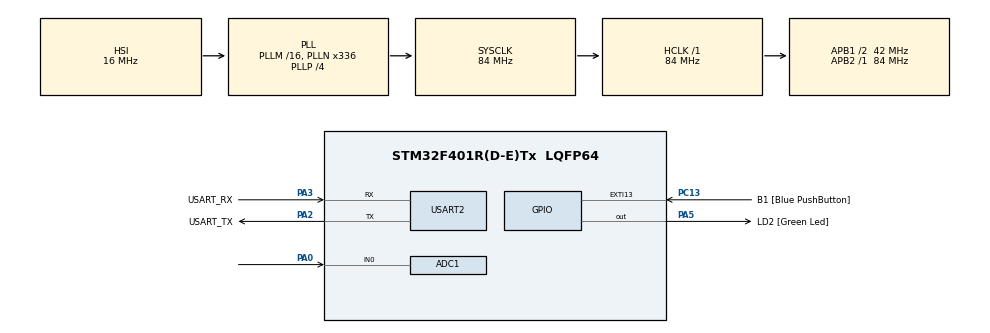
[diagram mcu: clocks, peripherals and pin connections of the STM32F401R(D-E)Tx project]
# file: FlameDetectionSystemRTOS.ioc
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ADC1.Channel-1\#ChannelRegularConversion=ADC_CHANNEL_0
ADC1.NbrOfConversionFlag=1
ADC1.Rank-1\#ChannelRegularConversion=1
ADC1.SamplingTime-1\#ChannelRegularConversion=ADC_SAMPLETIME_3CYCLES
ADC1.master=1
FREERTOS.Tasks01=defaultTask,24,128,StartDefaultTask,Default,NULL,Dynamic,NULL,NULL
Mcu.Family=STM32F4
Mcu.Name=STM32F401R(D-E)Tx
Mcu.Package=LQFP64
NVIC.PriorityGroup=NVIC_PRIORITYGROUP_4
PA0-WKUP.Signal=ADCx_IN0
PA13.GPIO_Label=TMS
PA13.Mode=Trace_Asynchronous_SW
PA13.Signal=SYS_JTMS-SWDIO
PA14.GPIO_Label=TCK
PA14.Mode=Trace_Asynchronous_SW
PA14.Signal=SYS_JTCK-SWCLK
PA2.GPIO_Label=USART_TX
PA2.GPIO_Mode=GPIO_MODE_AF_PP
PA2.GPIO_PuPd=GPIO_NOPULL
PA2.GPIO_Speed=GPIO_SPEED_FREQ_LOW
PA2.Mode=Asynchronous
PA2.Signal=USART2_TX
PA3.GPIO_Label=USART_RX
PA3.GPIO_Mode=GPIO_MODE_AF_PP
PA3.GPIO_PuPd=GPIO_NOPULL
PA3.GPIO_Speed=GPIO_SPEED_FREQ_LOW
PA3.Mode=Asynchronous
PA3.Signal=USART2_RX
PA5.GPIO_Label=LD2 [Green Led]
PA5.GPIO_Mode=GPIO_MODE_OUTPUT_PP
PA5.GPIO_PuPd=GPIO_NOPULL
PA5.GPIO_Speed=GPIO_SPEED_FREQ_LOW
PA5.Signal=GPIO_Output
PB3.GPIO_Label=SWO
PB3.Mode=Trace_Asynchronous_SW
PB3.Signal=SYS_JTDO-SWO
PC13-ANTI_TAMP.GPIO_Label=B1 [Blue PushButton]
PC13-ANTI_TAMP.GPIO_ModeDefaultEXTI=GPIO_MODE_IT_FALLING
PC13-ANTI_TAMP.GPIO_PuPd=GPIO_NOPULL
PC13-ANTI_TAMP.Signal=GPXTI13
PC14-OSC32_IN.Mode=LSE-External-Oscillator
PC14-OSC32_IN.Signal=RCC_OSC32_IN
PC15-OSC32_OUT.Mode=LSE-External-Oscillator
PC15-OSC32_OUT.Signal=RCC_OSC32_OUT
PH0\ -\ OSC_IN.Mode=HSE-External-Clock-Source
PH0\ -\ OSC_IN.Signal=RCC_OSC_IN
PH1\ -\ OSC_OUT.Mode=HSE-External-Clock-Source
PH1\ -\ OSC_OUT.Signal=RCC_OSC_OUT
ProjectManager.HeapSize=0x200
ProjectManager.StackSize=0x400
ProjectManager.TargetToolchain=STM32CubeIDE
RCC.48MHZClocksFreq_Value=48000000
RCC.AHBFreq_Value=84000000
RCC.APB1CLKDivider=RCC_HCLK_DIV2
RCC.APB1Freq_Value=42000000
RCC.APB1TimFreq_Value=84000000
RCC.APB2Freq_Value=84000000
RCC.APB2TimFreq_Value=84000000
RCC.CortexFreq_Value=84000000
RCC.HCLKFreq_Value=84000000
RCC.HSE_VALUE=8000000
RCC.HSI_VALUE=16000000
RCC.PLLN=336
RCC.PLLP=RCC_PLLP_DIV4
RCC.PLLQ=7
RCC.SYSCLKFreq_VALUE=84000000
RCC.SYSCLKSource=RCC_SYSCLKSOURCE_PLLCLK
RCC.VCOOutputFreq_Value=336000000
SH.ADCx_IN0.0=ADC1_IN0,IN0
USART2.VirtualMode=VM_ASYNC
VP_FREERTOS_VS_CMSIS_V2.Mode=CMSIS_V2
board=NUCLEO-F401RE

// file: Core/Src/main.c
/* USER CODE BEGIN Header */
/**
  ******************************************************************************
  * @file           : main.c
  * @brief          : Main program body
  ******************************************************************************
  * @attention
  *
  * Copyright (c) 2025 STMicroelectronics.
  * All rights reserved.
  *
  * This software is licensed under terms that can be found in the LICENSE file
  * in the root directory of this software component.
  * If no LICENSE file comes with this software, it is provided AS-IS.
  *
  ******************************************************************************
  */
/* USER CODE END Header */
#include "main.h"

/* USER CODE BEGIN Includes */
#include "FreeRTOS.h"
#include "task.h"
#include "queue.h"
#include "semphr.h"
#include "stdio.h"
#include "cmsis_os2.h"
/* USER CODE END Includes */

ADC_HandleTypeDef hadc1;

UART_HandleTypeDef huart2;

/* Definitions for defaultTask */
osThreadId_t defaultTaskHandle;
const osThreadAttr_t defaultTask_attributes = {
  .name = "defaultTask",
  .stack_size = 128 * 4,
  .priority = (osPriority_t) osPriorityNormal,
};
/* USER CODE BEGIN PV */
// FreeRTOS objects
QueueHandle_t xFlameQueue;
SemaphoreHandle_t xSensorMutex;
TaskHandle_t xFlameSensorTaskHandle = NULL;
TaskHandle_t xAlertTaskHandle = NULL;
TaskHandle_t xSerialTaskHandle = NULL;

// GPIO Definitions
#define FLAME_THRESHOLD 500
#define LED_PIN GPIO_PIN_5   // Ensure this matches your hardware
#define BUZZER_PIN GPIO_PIN_6
/* USER CODE END PV */

void SystemClock_Config(void);
static void MX_GPIO_Init(void);
static void MX_USART2_UART_Init(void);
static void MX_ADC1_Init(void);
void StartDefaultTask(void *argument);

/* USER CODE BEGIN PFP */
void vFlameSensorTask(void *pvParameters);
void vAlertTask(void *pvParameters);
void vSerialTask(void *pvParameters);
/* USER CODE END PFP */

/* USER CODE BEGIN 0 */
#include <sys/stat.h>
int _write(int fd, char *ptr, int len) {
    HAL_UART_Transmit(&huart2, (uint8_t*)ptr, len, HAL_MAX_DELAY);
    return len;
}
uint16_t readFlameSensor(void) {
    uint16_t sensorValue = 0;
    if (xSemaphoreTake(xSensorMutex, portMAX_DELAY) == pdTRUE) {
        HAL_ADC_Start(&hadc1);
        HAL_ADC_PollForConversion(&hadc1, HAL_MAX_DELAY);
        sensorValue = HAL_ADC_GetValue(&hadc1);
        HAL_ADC_Stop(&hadc1);
        xSemaphoreGive(xSensorMutex);
    }
    return (sensorValue > 4095) ? 4095 : sensorValue;
}
/* USER CODE END 0 */

int main(void)
{

  /* MCU Configuration--------------------------------------------------------*/

  /* Reset of all peripherals, Initializes the Flash interface and the Systick. */
  HAL_Init();

  /* Configure the system clock */
  SystemClock_Config();

  /* Initialize all configured peripherals */
  MX_GPIO_Init();
  MX_USART2_UART_Init();
  MX_ADC1_Init();
  /* USER CODE BEGIN 2 */
  xFlameQueue = xQueueCreate(1, sizeof(uint8_t));
  xSensorMutex = xSemaphoreCreateMutex();

  if (xFlameQueue == NULL || xSensorMutex == NULL) {
	  Error_Handler();
      printf("Queue or Mutex creation failed! System Halted.\n");
      while (1);
  }

  const osThreadAttr_t flameTask_attr = {
    .name = "FlameSensor",
    .stack_size = 256 * 4,  // STM32 uses bytes, not words
    .priority = osPriorityNormal,
  };
  osThreadNew(vFlameSensorTask, NULL, &flameTask_attr);
  const osThreadAttr_t alertAttr = {
    .name = "AlertTask",
    .stack_size = 256 * 4, // STM32 uses bytes
    .priority = osPriorityHigh
  };
  osThreadNew(vAlertTask, NULL, &alertAttr);
  const osThreadAttr_t serialTask_attr = {
      .name = "Serial",
      .stack_size = 256 * 4,
      .priority = osPriorityNormal,
  };
  osThreadNew(vSerialTask, NULL, &serialTask_attr);

 // vTaskStartScheduler(); // Start FreeRTOS scheduler
  /* USER CODE END 2 */

  /* Init scheduler */
  osKernelInitialize();

  /* Create the thread(s) */
  /* creation of defaultTask */
  defaultTaskHandle = osThreadNew(StartDefaultTask, NULL, &defaultTask_attributes);

  /* Start scheduler */
  osKernelStart();

  /* We should never get here as control is now taken by the scheduler */

  /* Infinite loop */
  while (1)
  {

  }
}

void SystemClock_Config(void)
{
  RCC_OscInitTypeDef RCC_OscInitStruct = {0};
  RCC_ClkInitTypeDef RCC_ClkInitStruct = {0};

  /** Configure the main internal regulator output voltage
  */
  __HAL_RCC_PWR_CLK_ENABLE();
  __HAL_PWR_VOLTAGESCALING_CONFIG(PWR_REGULATOR_VOLTAGE_SCALE2);

  /** Initializes the RCC Oscillators according to the specified parameters
  * in the RCC_OscInitTypeDef structure.
  */
  RCC_OscInitStruct.OscillatorType = RCC_OSCILLATORTYPE_HSI;
  RCC_OscInitStruct.HSIState = RCC_HSI_ON;
  RCC_OscInitStruct.HSICalibrationValue = RCC_HSICALIBRATION_DEFAULT;
  RCC_OscInitStruct.PLL.PLLState = RCC_PLL_ON;
  RCC_OscInitStruct.PLL.PLLSource = RCC_PLLSOURCE_HSI;
  RCC_OscInitStruct.PLL.PLLM = 16;
  RCC_OscInitStruct.PLL.PLLN = 336;
  RCC_OscInitStruct.PLL.PLLP = RCC_PLLP_DIV4;
  RCC_OscInitStruct.PLL.PLLQ = 7;
  if (HAL_RCC_OscConfig(&RCC_OscInitStruct) != HAL_OK)
  {
    Error_Handler();
  }

  /** Initializes the CPU, AHB and APB buses clocks
  */
  RCC_ClkInitStruct.ClockType = RCC_CLOCKTYPE_HCLK|RCC_CLOCKTYPE_SYSCLK
                              |RCC_CLOCKTYPE_PCLK1|RCC_CLOCKTYPE_PCLK2;
  RCC_ClkInitStruct.SYSCLKSource = RCC_SYSCLKSOURCE_PLLCLK;
  RCC_ClkInitStruct.AHBCLKDivider = RCC_SYSCLK_DIV1;
  RCC_ClkInitStruct.APB1CLKDivider = RCC_HCLK_DIV2;
  RCC_ClkInitStruct.APB2CLKDivider = RCC_HCLK_DIV1;

  if (HAL_RCC_ClockConfig(&RCC_ClkInitStruct, FLASH_LATENCY_2) != HAL_OK)
  {
    Error_Handler();
  }
}

static void MX_ADC1_Init(void)
{

  ADC_ChannelConfTypeDef sConfig = {0};

  /** Configure the global features of the ADC (Clock, Resolution, Data Alignment and number of conversion)
  */
  hadc1.Instance = ADC1;
  hadc1.Init.ClockPrescaler = ADC_CLOCK_SYNC_PCLK_DIV4;
  hadc1.Init.Resolution = ADC_RESOLUTION_12B;
  hadc1.Init.ScanConvMode = DISABLE;
  hadc1.Init.ContinuousConvMode = DISABLE;
  hadc1.Init.DiscontinuousConvMode = DISABLE;
  hadc1.Init.ExternalTrigConvEdge = ADC_EXTERNALTRIGCONVEDGE_NONE;
  hadc1.Init.ExternalTrigConv = ADC_SOFTWARE_START;
  hadc1.Init.DataAlign = ADC_DATAALIGN_RIGHT;
  hadc1.Init.NbrOfConversion = 1;
  hadc1.Init.DMAContinuousRequests = DISABLE;
  hadc1.Init.EOCSelection = ADC_EOC_SINGLE_CONV;
  if (HAL_ADC_Init(&hadc1) != HAL_OK)
  {
    Error_Handler();
  }

  /** Configure for the selected ADC regular channel its corresponding rank in the sequencer and its sample time.
  */
  sConfig.Channel = ADC_CHANNEL_0;
  sConfig.Rank = 1;
  sConfig.SamplingTime = ADC_SAMPLETIME_84CYCLES;
  if (HAL_ADC_ConfigChannel(&hadc1, &sConfig) != HAL_OK)
  {
    Error_Handler();
  }
  if (HAL_ADCEx_Calibration_Start(&hadc1) != HAL_OK) {
      Error_Handler();
  }

}

static void MX_USART2_UART_Init(void)
{

  huart2.Instance = USART2;
  huart2.Init.BaudRate = 115200;
  huart2.Init.WordLength = UART_WORDLENGTH_8B;
  huart2.Init.StopBits = UART_STOPBITS_1;
  huart2.Init.Parity = UART_PARITY_NONE;
  huart2.Init.Mode = UART_MODE_TX_RX;
  huart2.Init.HwFlowCtl = UART_HWCONTROL_NONE;
  huart2.Init.OverSampling = UART_OVERSAMPLING_16;
  if (HAL_UART_Init(&huart2) != HAL_OK)
  {
    Error_Handler();
  }

}

static void MX_GPIO_Init(void)
{
  GPIO_InitTypeDef GPIO_InitStruct = {0};
/* USER CODE BEGIN MX_GPIO_Init_1 */
  /* Configure PA5 (LED) and PA6 (Buzzer) as outputs */
  GPIO_InitStruct.Pin = GPIO_PIN_5 | GPIO_PIN_6;
  GPIO_InitStruct.Mode = GPIO_MODE_OUTPUT_PP;
  GPIO_InitStruct.Pull = GPIO_NOPULL;
  GPIO_InitStruct.Speed = GPIO_SPEED_FREQ_LOW;
  HAL_GPIO_Init(GPIOA, &GPIO_InitStruct);
/* USER CODE END MX_GPIO_Init_1 */

  /* GPIO Ports Clock Enable */
  __HAL_RCC_GPIOC_CLK_ENABLE();
  __HAL_RCC_GPIOH_CLK_ENABLE();
  __HAL_RCC_GPIOA_CLK_ENABLE();
  __HAL_RCC_GPIOB_CLK_ENABLE();

  /*Configure GPIO pin Output Level */
  HAL_GPIO_WritePin(LD2_GPIO_Port, LD2_Pin, GPIO_PIN_RESET);

  /*Configure GPIO pin : B1_Pin */
  GPIO_InitStruct.Pin = B1_Pin;
  GPIO_InitStruct.Mode = GPIO_MODE_IT_FALLING;
  GPIO_InitStruct.Pull = GPIO_NOPULL;
  HAL_GPIO_Init(B1_GPIO_Port, &GPIO_InitStruct);

  /*Configure GPIO pin : LD2_Pin */
  GPIO_InitStruct.Pin = LD2_Pin;
  GPIO_InitStruct.Mode = GPIO_MODE_OUTPUT_PP;
  GPIO_InitStruct.Pull = GPIO_NOPULL;
  GPIO_InitStruct.Speed = GPIO_SPEED_FREQ_LOW;
  HAL_GPIO_Init(LD2_GPIO_Port, &GPIO_InitStruct);

}

/* USER CODE BEGIN 4 */
void vFlameSensorTask(void *pvParameters) {
    uint8_t flameStatus = 0;
    while (1) {
        uint16_t sensorValue = readFlameSensor();
        flameStatus = (sensorValue < FLAME_THRESHOLD) ? 1 : 0;

        xQueueOverwrite(xFlameQueue, &flameStatus); // Always update the latest status
        vTaskDelay(pdMS_TO_TICKS(100));
    }
}

void vAlertTask(void *pvParameters) {
    uint8_t flameStatus;
    while (1) {
        if (xQueueReceive(xFlameQueue, &flameStatus, portMAX_DELAY) == pdPASS) {
            HAL_GPIO_WritePin(GPIOA, LED_PIN, flameStatus ? GPIO_PIN_SET : GPIO_PIN_RESET);
            HAL_GPIO_WritePin(GPIOA, BUZZER_PIN, flameStatus ? GPIO_PIN_SET : GPIO_PIN_RESET);
        }
        vTaskDelay(pdMS_TO_TICKS(50));
    }
}

void vSerialTask(void *pvParameters) {
    uint8_t flameStatus;
    while (1) {
        if (xQueuePeek(xFlameQueue, &flameStatus, pdMS_TO_TICKS(10)) == pdPASS) {
            printf(flameStatus ? "Flame Detected!\n" : "No Flame.\n");
            HAL_GPIO_WritePin(GPIOA, LED_PIN, flameStatus ? GPIO_PIN_SET : GPIO_PIN_RESET);
            HAL_GPIO_WritePin(GPIOA, BUZZER_PIN, flameStatus ? GPIO_PIN_SET : GPIO_PIN_RESET);
        }
        vTaskDelay(pdMS_TO_TICKS(500));
    }
}
/* USER CODE END 4 */

void StartDefaultTask(void *argument)
{
  for(;;)
  {
    osDelay(1);
  }
}

void Error_Handler(void)
{
  __disable_irq();
  while (1)
  {
  }
}
